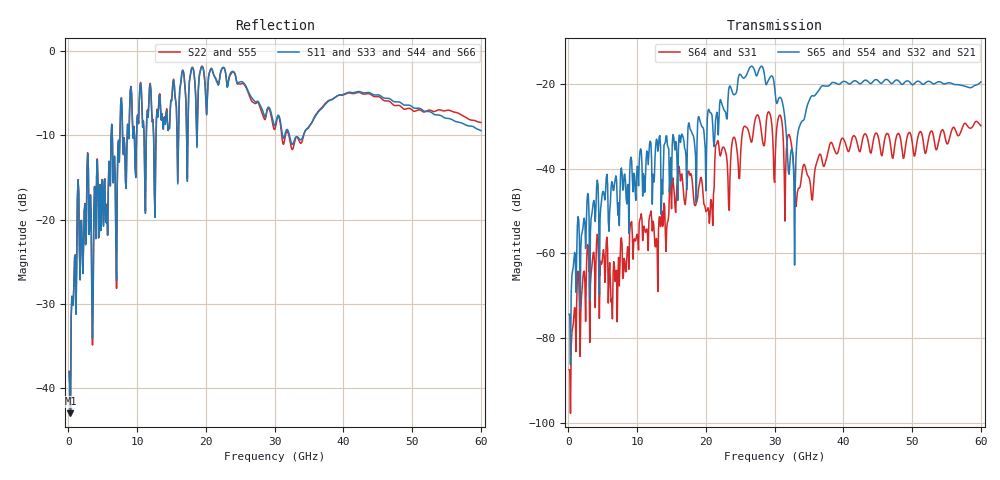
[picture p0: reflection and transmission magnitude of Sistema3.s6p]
! Created by VPF Tool @ TET-TUHH - by terd - on 20-Jul-2016
# GHZ S RI R 50.00
! Data
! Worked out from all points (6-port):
!   600 points, 100 MHz to 60 GHz, reference 50 ohm
!   strongest paths, dB at 100 MHz, 15.1 GHz, 30.1 GHz, 45.1 GHz, 60 GHz:
!     S65: -74.3, -34.4, -22.6, -19.3, -19.5
!     S54: -74.3, -34.4, -22.6, -19.3, -19.5
!     S32: -74.3, -34.4, -22.6, -19.3, -19.5
!     S21: -74.3, -34.4, -22.6, -19.3, -19.5
!     S64: -87.4, -42.9, -36.6, -32.7, -29.9
!     S31: -87.4, -42.9, -36.6, -32.7, -29.9
!   lowest |S11| = -43.0 dB at 300 MHz (marker M1), VSWR 1.01, Z = 50.1 - j0.699 ohm
!   |S11| at or under -10 dB: start of sweep to 6.219 GHz; 6.375 GHz to 7.497 GHz (1.122 GHz wide, 16.2 % of centre); 32.15 GHz to 34.17 GHz (2.02 GHz wide, 6.09 % of centre)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
